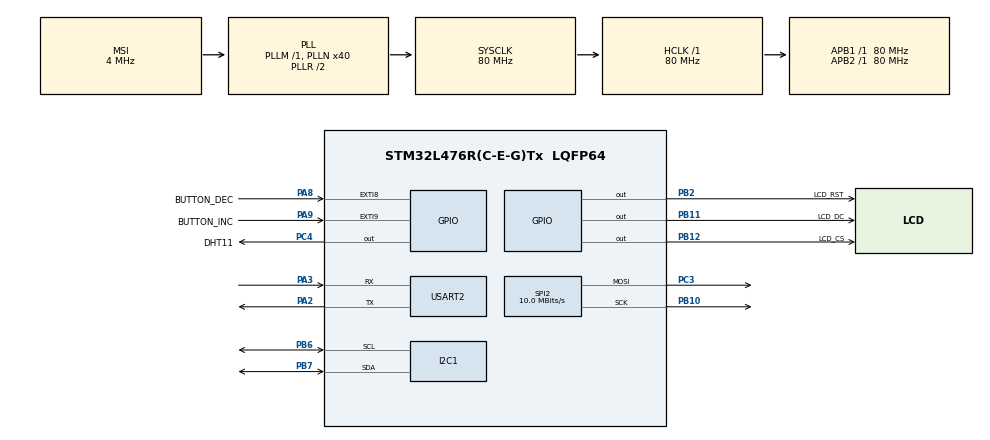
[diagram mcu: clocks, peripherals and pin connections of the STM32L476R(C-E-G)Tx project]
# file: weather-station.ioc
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Dma.Request0=SPI2_TX
Dma.SPI2_TX.0.Direction=DMA_MEMORY_TO_PERIPH
Dma.SPI2_TX.0.Instance=DMA1_Channel5
Dma.SPI2_TX.0.MemDataAlignment=DMA_MDATAALIGN_BYTE
Dma.SPI2_TX.0.MemInc=DMA_MINC_ENABLE
Dma.SPI2_TX.0.Mode=DMA_NORMAL
Dma.SPI2_TX.0.PeriphDataAlignment=DMA_PDATAALIGN_BYTE
Dma.SPI2_TX.0.PeriphInc=DMA_PINC_DISABLE
Dma.SPI2_TX.0.Priority=DMA_PRIORITY_LOW
I2C1.Timing=0x10909CEC
Mcu.Family=STM32L4
Mcu.Name=STM32L476R(C-E-G)Tx
Mcu.Package=LQFP64
NVIC.DMA1_Channel5_IRQn=true\:0\:0\:false\:false\:true\:false\:true\:true
NVIC.EXTI9_5_IRQn=true\:5\:0\:true\:false\:true\:true\:true\:true
NVIC.PriorityGroup=NVIC_PRIORITYGROUP_4
PA2.Mode=Asynchronous
PA2.Signal=USART2_TX
PA3.Mode=Asynchronous
PA3.Signal=USART2_RX
PA8.GPIO_Label=BUTTON_DEC
PA8.GPIO_ModeDefaultEXTI=GPIO_MODE_IT_FALLING
PA8.GPIO_PuPd=GPIO_PULLUP
PA8.Signal=GPXTI8
PA9.GPIO_Label=BUTTON_INC
PA9.GPIO_ModeDefaultEXTI=GPIO_MODE_IT_FALLING
PA9.GPIO_PuPd=GPIO_PULLUP
PA9.Signal=GPXTI9
PB10.Mode=TX_Only_Simplex_Unidirect_Master
PB10.Signal=SPI2_SCK
PB11.GPIO_Label=LCD_DC
PB11.Signal=GPIO_Output
PB12.GPIO_Label=LCD_CS
PB12.PinState=GPIO_PIN_SET
PB12.Signal=GPIO_Output
PB2.GPIO_Label=LCD_RST
PB2.Signal=GPIO_Output
PB6.Mode=I2C
PB6.Signal=I2C1_SCL
PB7.Mode=I2C
PB7.Signal=I2C1_SDA
PC3.Mode=TX_Only_Simplex_Unidirect_Master
PC3.Signal=SPI2_MOSI
PC4.GPIO_Label=DHT11
PC4.GPIO_ModeDefaultOutputPP=GPIO_MODE_OUTPUT_OD
PC4.GPIO_PuPd=GPIO_NOPULL
PC4.PinState=GPIO_PIN_SET
PC4.Signal=GPIO_Output
ProjectManager.HeapSize=0x200
ProjectManager.StackSize=0x2000
ProjectManager.TargetToolchain=STM32CubeIDE
RCC.AHBFreq_Value=80000000
RCC.APB1Freq_Value=80000000
RCC.APB1TimFreq_Value=80000000
RCC.APB2Freq_Value=80000000
RCC.APB2TimFreq_Value=80000000
RCC.CortexFreq_Value=80000000
RCC.HCLKFreq_Value=80000000
RCC.HSE_VALUE=8000000
RCC.HSI_VALUE=16000000
RCC.LSE_VALUE=32768
RCC.MSI_VALUE=4000000
RCC.PLLN=40
RCC.SYSCLKFreq_VALUE=80000000
RCC.SYSCLKSource=RCC_SYSCLKSOURCE_PLLCLK
RCC.VCOOutputFreq_Value=160000000
SPI2.BaudRatePrescaler=SPI_BAUDRATEPRESCALER_8
SPI2.CalculateBaudRate=10.0 MBits/s
SPI2.DataSize=SPI_DATASIZE_8BIT
SPI2.Direction=SPI_DIRECTION_2LINES
SPI2.Mode=SPI_MODE_MASTER
SPI2.NSSPMode=SPI_NSS_PULSE_DISABLE
SPI2.VirtualType=VM_MASTER
TIM6.Prescaler=79
TIM7.Prescaler=7999
USART2.VirtualMode-Asynchronous=VM_ASYNC
VP_TIM6_VS_ClockSourceINT.Mode=Enable_Timer
VP_TIM7_VS_ClockSourceINT.Mode=Enable_Timer
board=custom

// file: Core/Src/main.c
/* USER CODE BEGIN Header */
/**
  ******************************************************************************
  * @file           : main.c
  * @brief          : Main program body
  ******************************************************************************
  * @attention
  *
  * Copyright (c) 2023 STMicroelectronics.
  * All rights reserved.
  *
  * This software is licensed under terms that can be found in the LICENSE file
  * in the root directory of this software component.
  * If no LICENSE file comes with this software, it is provided AS-IS.
  *
  ******************************************************************************
  */
/* USER CODE END Header */
#include "main.h"
#include "dma.h"
#include "i2c.h"
#include "spi.h"
#include "tim.h"
#include "usart.h"
#include "gpio.h"

/* USER CODE BEGIN Includes */
#include <stdio.h>
#include <stdlib.h>
#include <math.h>

#include "dht11.h"
#include "lps25hb.h"
#include "lcd.h"

#include "hagl.h"
#include "font6x9.h"
#include "rgb565.h"

#include "icons.c"
/* USER CODE END Includes */

void SystemClock_Config(void);

/* USER CODE BEGIN 0 */
volatile uint8_t current_screen = 0;

//Function to handle interrupts (debouncing buttons)
void HAL_GPIO_EXTI_Callback(uint16_t GPIO_Pin)
{
  if ((GPIO_Pin == BUTTON_INC_Pin) && (__HAL_TIM_GET_COUNTER(&htim7) > 3000))
  {
	  __HAL_TIM_SET_COUNTER(&htim7, 0);
	  if (current_screen == 3)
	  {
		  current_screen = 0;
	  }
	  else current_screen++;
  }
  else if ((GPIO_Pin == BUTTON_DEC_Pin) && (__HAL_TIM_GET_COUNTER(&htim7) > 3000))
  {
	  __HAL_TIM_SET_COUNTER(&htim7, 0);
	  if (current_screen == 0)
	  {
		  current_screen = 3;
	  }
	  else current_screen--;
  }
}

void HAL_SPI_TxCpltCallback(SPI_HandleTypeDef *hspi)
{
	if (hspi == &hspi2)
	{
		HAL_GPIO_WritePin(LCD_CS_GPIO_Port, LCD_CS_Pin, GPIO_PIN_SET);
	}
}

//Function returning number of digits in a number
uint8_t num_places(uint16_t n) {
    if (n < 10) return 1;
    return 1 + num_places(n / 10);
}

//Function to use printf() with UART
int __io_putchar(int ch)
{
  if (ch == '\n') {
    __io_putchar('\r');
  }

  HAL_UART_Transmit(&huart2, (uint8_t*)&ch, 1, HAL_MAX_DELAY);

  return 1;
}

//Function to map values
int map(int x, int in_min, int in_max, int out_min, int out_max) {
  return (x - in_min) * (out_max - out_min) / (in_max - in_min) + out_min;
}
/* USER CODE END 0 */

int main(void)
{

  /* MCU Configuration--------------------------------------------------------*/

  /* Reset of all peripherals, Initializes the Flash interface and the Systick. */
  HAL_Init();

  /* Configure the system clock */
  SystemClock_Config();

  /* Initialize all configured peripherals */
  MX_GPIO_Init();
  MX_DMA_Init();
  MX_TIM6_Init();
  MX_USART2_UART_Init();
  MX_SPI2_Init();
  MX_I2C1_Init();
  MX_TIM7_Init();
  /* USER CODE BEGIN 2 */

  //Arrays storing values of 25 last measurements
  uint8_t last_25_temp[25] = {0};
  uint8_t last_25_hum[25] = {0};
  uint16_t last_25_pres[25] = {0};

  //Arrays storing values for scales in charts
  char hours[5][3] = {" 0 ", "-6 ", "-12", "-18", "-24"};
  char t_scale[6][3] = {"-10", "  0", " 10", " 20", " 30", " 40"};
  char h_scale[5][3] = {"  0", " 25", " 50", " 75", "100"};
  char p_scale[5][4] = {"990 ", "1000", "1010", "1020", "1030"};

  //Function to initialize sensors and lcd display
  void initialize_peripherals()
  {
	  HAL_TIM_Base_Start(&htim7);

	  //initialize dht11 sensor
	  if (dht11_init(&htim6) == HAL_OK) {
	    printf("OK: DHT11 timer started\n");
	  } else {
	    printf("Error: DHT11 timer error\n");
	    Error_Handler();
	  }
	  //initialize lps25hb sensor
	  if (lps25hb_init() == HAL_OK) {
	    printf("OK: LPS25HB found\n");
	  } else {
	    printf("Error: LPS25HB not found\n");
	    Error_Handler();
	  }
	  lps25hb_set_calib(-24); //calibrate lps25hb sensor

	  //initialize lcd display
	  lcd_init();
  }

  //Function to read data from sensors and store them in arrays
  void read_and_store_data()
  {
	  for (int i = 0; i < 24; i++)
	  {
		  last_25_temp[i] = last_25_temp[i+1];
		  last_25_hum[i] = last_25_hum[i+1];
		  last_25_pres[i] = last_25_pres[i+1];
	  }

	  dht11_read_data();

	  last_25_temp[24] = dht11_get_temperature();;
	  last_25_hum[24] = dht11_get_humidity();
	  last_25_pres[24] = roundf(lps25hb_read_rel_pressure());
  }

  //Function to display temperature icon and value on lcd display
  void display_temperature(uint8_t temp)
  {
	  uint8_t digits_num = num_places(temp);
	  char temp_char[digits_num];
	  sprintf(temp_char, "%u", temp);

	  wchar_t text[] = L"Temperature:   'C";

	  for (int i = 0; i < digits_num; i++)
	  {
		  text[12+i+(3-digits_num)] = temp_char[i];
	  }

	  lcd_draw_image_8(0, 0, 40, 40, temperature_icon);
	  hagl_put_text(text, 42, 16, GREEN, font6x9);
  }

  //Function to display humidity icon and value on lcd display
  void display_humidity(uint8_t hum)
  {
	  uint8_t digits_num = num_places(hum);
	  char temp_char[digits_num];
	  sprintf(temp_char, "%u", hum);

	  wchar_t text[] = L"Humidity:   %";

	  for (int i = 0; i < digits_num; i++)
	  {
		  text[9+i+(3-digits_num)] = temp_char[i];
	  }

	  lcd_draw_image_8(0, 44, 40, 40, humidity_icon);
	  hagl_put_text(text, 42, 60, GREEN, font6x9);
  }

  //Function to display pressure icon and value on lcd display
  void display_pressure(uint16_t pres)
  {
	  uint8_t digits_num = num_places(pres);
	  char temp_char[digits_num];
	  sprintf(temp_char, "%u", pres);

	  wchar_t text[] = L"Pressure:     hPa";

	  for (int i = 0; i < digits_num; i++)
	  {
		  text[10+i+(4-digits_num)] = temp_char[i];
	  }

	  lcd_draw_image_8(0, 88, 40, 40, pressure_icon);
	  hagl_put_text(text, 42, 104, GREEN, font6x9);
  }

  ///////////////////////DRAWING CHARTS FUNCTIONS BEGIN////////////////////////////////////

  //Function to draw chart's axes
  void draw_axes()
  {
	  uint8_t x0 = 20;
	  uint8_t x_length = 135;
	  uint8_t x_offset = 30;

	  uint8_t y0 = 105;
	  uint8_t y_start = 10;
	  uint8_t y_length = 118;

	  uint8_t divider_length = 5;

	  // X Axis
	  hagl_draw_hline(x0, y0, x_length, YELLOW);
	  for (int i = 0; i < 5; i++)
	  {
		  hagl_draw_vline(x_offset + i * 30, y0 - divider_length, divider_length, YELLOW);
	  }

	  // Y Axis
	  hagl_draw_vline(x0, y_start, y_length, YELLOW);
	  for (int i = 0; i < 6; i++)
	  {
		  hagl_draw_hline(x0, i * 20 + 25, divider_length, YELLOW);
	  }

  }

  //Function to draw chart's scales depending on parameter
  void draw_scales(char par)
  {
	  uint8_t y0 = 105;
	  uint8_t x_desc_start = 2;
	  uint8_t y_desc_start = y0 + 5;

	  // X Axis
	  hagl_put_text(L"[h]", 140, y0 - 10, RED, font6x9);

	  for (int i = 0; i < 5; i++)
	  {
		  wchar_t text[] = L"   ";
		  for (int j = 0; j < 3; j++)
		  {
			  text[j] = hours[i][j];
		  }
		  hagl_put_text(text, 143 - i * 30, y_desc_start, RED, font6x9);
	  }

	  // Y Axis
	  switch(par)
	  {
	  //Temperature
	  case 't':
		  // Title
		  hagl_put_text(L"TEMPERATURE", 50, 5, GREEN, font6x9);
		  hagl_put_text(L"['C]", x_desc_start, 5, RED, font6x9);

		  //Y scale
		  for (int i = 0; i < 6; i++)
		  {
			  wchar_t text[] = L"   ";
			  for (int j = 0; j < 3; j++)
			  {
				  text[j] = t_scale[i][j];
			  }
			  hagl_put_text(text, x_desc_start, 120 - i * 20, RED, font6x9);
		  }
		  break;
	//Humidity
	  case 'h':
		  // Title
		  hagl_put_text(L"HUMIDITY", 60, 5, GREEN, font6x9);
		  hagl_put_text(L"[%]", x_desc_start+5, 5, RED, font6x9);

		  //Y scale
		  for (int i = 0; i < 5; i++)
		  {
			  wchar_t text[] = L"   ";
			  for (int j = 0; j < 3; j++)
			  {
				  text[j] = h_scale[i][j];
			  }
			  hagl_put_text(text, x_desc_start, 100 - i * 20, RED, font6x9);
		  }
		  break;
	//Pressure
	  case 'p':
		  // Title
		  hagl_put_text(L"PRESSURE", 60, 5, GREEN, font6x9);
		  hagl_put_text(L"[hPa]", x_desc_start, 5, RED, font6x9);

		  //Y scale
		  for (int i = 0; i < 5; i++)
		  {
			  wchar_t text[] = L"    ";
			  for (int j = 0; j < 4; j++)
			  {
				  text[j] = p_scale[i][j];
			  }
			  hagl_put_text(text, x_desc_start, 100 - i * 20, RED, font6x9);
		  }
		  break;

	  default:
		  lcd_clear();
		  break;
	  }
  }

  //Function to draw chart's data (dots and lines)
  void draw_data(char par)
  {
	  uint8_t x_pos = 30;
	  uint8_t x_increment = 5;
	  uint8_t y0 = 105;

	  switch(par)
	  {
	  case 't':
		  for (int i = 0; i < 25; i++)
		  {
			  hagl_fill_circle(x_pos, y0 - map(last_25_temp[i], -10, 40, -20, 80), 2, RED);
			  if(i < 24)
			  {
				  hagl_draw_line(x_pos, y0 - map(last_25_temp[i], -10, 40, -20, 80), x_pos + x_increment, y0 - map(last_25_temp[i+1], -10, 40, -20, 80), RED);
			  }
			  x_pos += x_increment;
		  }
		  break;
	  case 'h':
		  for (int i = 0; i < 25; i++)
		  {
			  hagl_fill_circle(x_pos, y0 - map(last_25_hum[i], 0, 100, 0, 80), 2, CYAN);
			  if(i < 24)
			  {
				  hagl_draw_line(x_pos, y0 - map(last_25_hum[i], 0, 100, 0, 80), x_pos + x_increment, y0 - map(last_25_hum[i+1], 0, 100, 0, 80), CYAN);
			  }
			  x_pos += x_increment;
		  }
		  break;
	  case 'p':
		  for (int i = 0; i < 25; i++)
		  {
			  hagl_fill_circle(x_pos, y0 - map(last_25_pres[i], 990, 1030, 0, 80), 2, MAGENTA);
			  if(i < 24)
			  {
				  hagl_draw_line(x_pos, y0 - map(last_25_pres[i], 990, 1030, 0, 80), x_pos + x_increment, y0 - map(last_25_pres[i+1], 990, 1030, 0, 80), MAGENTA);
			  }
			  x_pos += x_increment;
		  }
		  break;
	  default:
		  lcd_clear(); //clear lcd if parameter is incorrect
		  break;
	  }

  }

  //Function to draw full chart of temperature, humidity or pressure
  void draw_chart(char measurement)
  {
	  lcd_clear();
	  draw_axes();
	  draw_scales(measurement);
	  draw_data(measurement);
	  lcd_copy();
  }

  ///////////////////////DRAWING CHARTS FUNCTIONS END////////////////////////////////////

  //Function displaying main screen with values and icons of temperature, humidity and pressure
  void main_screen(void)
  {
	  lcd_clear();
	  display_temperature(last_25_temp[24]);
	  display_humidity(last_25_hum[24]);
	  display_pressure(last_25_pres[24]);
	  lcd_copy();
  }

  //Update currently displayed screen
  void update_display(uint8_t screen)
  {
	  switch(screen)
	  {
	  case 0:
		  main_screen();
		  break;
	  case 1:
		  draw_chart('t');
		  break;
	  case 2:
		  draw_chart('h');
		  break;
	  case 3:
		  draw_chart('p');
		  break;
	  default:
		  lcd_clear();
	  }
  }

  //Function to control data on UART
  void uart_overseer()
  {
	  printf("Temperature: %d\n", dht11_get_temperature());
	  printf("Humidity: %d\n", dht11_get_humidity());
	  printf("Temperature LPS: %.1f*C\n", lps25hb_read_temp());
	  printf("Pressure float= %.1f hPa\n", lps25hb_read_rel_pressure());
	  printf("Relative pressure = %u hPa\n", last_25_pres[24]);
	  printf("Screen: %u\n", current_screen);
  }

  /* USER CODE END 2 */

  /* Infinite loop */
  /* USER CODE BEGIN WHILE */
  initialize_peripherals();

  while (1)
  {
	  read_and_store_data();
	  update_display(current_screen);
	  uart_overseer();
	  HAL_Delay(1500);

    /* USER CODE END WHILE */

  }
}

void SystemClock_Config(void)
{
  RCC_OscInitTypeDef RCC_OscInitStruct = {0};
  RCC_ClkInitTypeDef RCC_ClkInitStruct = {0};

  /** Configure the main internal regulator output voltage
  */
  if (HAL_PWREx_ControlVoltageScaling(PWR_REGULATOR_VOLTAGE_SCALE1) != HAL_OK)
  {
    Error_Handler();
  }

  /** Initializes the RCC Oscillators according to the specified parameters
  * in the RCC_OscInitTypeDef structure.
  */
  RCC_OscInitStruct.OscillatorType = RCC_OSCILLATORTYPE_MSI;
  RCC_OscInitStruct.MSIState = RCC_MSI_ON;
  RCC_OscInitStruct.MSICalibrationValue = 0;
  RCC_OscInitStruct.MSIClockRange = RCC_MSIRANGE_6;
  RCC_OscInitStruct.PLL.PLLState = RCC_PLL_ON;
  RCC_OscInitStruct.PLL.PLLSource = RCC_PLLSOURCE_MSI;
  RCC_OscInitStruct.PLL.PLLM = 1;
  RCC_OscInitStruct.PLL.PLLN = 40;
  RCC_OscInitStruct.PLL.PLLP = RCC_PLLP_DIV7;
  RCC_OscInitStruct.PLL.PLLQ = RCC_PLLQ_DIV2;
  RCC_OscInitStruct.PLL.PLLR = RCC_PLLR_DIV2;
  if (HAL_RCC_OscConfig(&RCC_OscInitStruct) != HAL_OK)
  {
    Error_Handler();
  }

  /** Initializes the CPU, AHB and APB buses clocks
  */
  RCC_ClkInitStruct.ClockType = RCC_CLOCKTYPE_HCLK|RCC_CLOCKTYPE_SYSCLK
                              |RCC_CLOCKTYPE_PCLK1|RCC_CLOCKTYPE_PCLK2;
  RCC_ClkInitStruct.SYSCLKSource = RCC_SYSCLKSOURCE_PLLCLK;
  RCC_ClkInitStruct.AHBCLKDivider = RCC_SYSCLK_DIV1;
  RCC_ClkInitStruct.APB1CLKDivider = RCC_HCLK_DIV1;
  RCC_ClkInitStruct.APB2CLKDivider = RCC_HCLK_DIV1;

  if (HAL_RCC_ClockConfig(&RCC_ClkInitStruct, FLASH_LATENCY_4) != HAL_OK)
  {
    Error_Handler();
  }
}

void Error_Handler(void)
{
  __disable_irq();
  while (1)
  {
  }
}
